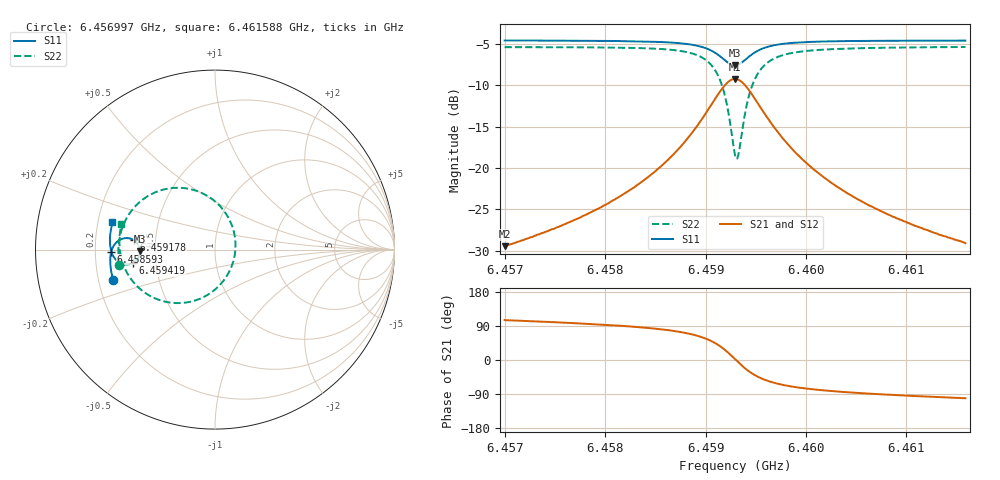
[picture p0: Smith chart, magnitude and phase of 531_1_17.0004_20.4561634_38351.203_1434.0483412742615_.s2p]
#  HZ  S  RI  R  50.00
! Rohde & Schwarz Vector Network Analyzer
! Rohde-Schwarz,ZNB20-2Port,1311601062101988,3.16
! Created: UTC 3/20/2024, 11:15:54 PM
! freq[Hz]  re:S11  im:S11  re:S21  im:S21  re:S12  im:S12  re:S22  im:S22
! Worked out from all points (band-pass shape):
!   401 points, 6.456997 GHz to 6.461588 GHz, reference 50 ohm
!   highest |S21| = -9.21 dB at 6.459293 GHz (marker M1); lowest = -29.5 dB at 6.456997 GHz (marker M2)
!   |S21| within 3 dB of the highest: 6.459063 GHz to 6.459523 GHz (459.2 kHz wide, 0.00711 % of centre)
!   lowest |S11| = -7.6 dB at 6.459293 GHz (marker M3), VSWR 2.44, Z = 20.5 - j0.463 ohm
!   |S11| at or under -10 dB: nowhere
!   |S22| runs from -18.9 to -5.3 dB; largest |S21 - S12| = 0.014
!   S11 on the Smith chart (normalised r, x): 6.456997 GHz: 0.26, -0.14; 6.458593 GHz: 0.27, -0.01; 6.459178 GHz: 0.37, +0.05; 6.459419 GHz: 0.37, -0.07; 6.461588 GHz: 0.26, +0.12
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6.4569972e9  -0.5671 -0.1706  -0.00897 0.0325  -0.00703 0.0326  -0.5331 -0.0831
6.4577662e9  -0.5809 -0.1034  -0.0055 0.0505  -0.00296 0.05  -0.5382 0.00696
6.4581794e9  -0.5837 -0.062  0.00025 0.0694  0.00359 0.068  -0.5301 0.0725
6.4585352e9  -0.5798 -0.0197  0.0147 0.099  0.0185 0.0961  -0.504 0.1524
6.4585925e9  -0.578 -0.0117  0.0188 0.1058  0.0229 0.1026  -0.4959 0.169
6.4587991e9  -0.565 0.0204  0.0466 0.1383  0.0506 0.1333  -0.444 0.2417
6.4589483e9  -0.5422 0.0466  0.0919 0.1687  0.0952 0.1619  -0.3599 0.306
6.4590861e9  -0.4983 0.0641  0.1792 0.1851  0.1802 0.1777  -0.2003 0.3444
6.4591779e9  -0.4538 0.0538  0.2694 0.1537  0.2695 0.1478  -0.0333 0.2935
6.4592467e9  -0.4247 0.0218  0.3297 0.0816  0.332 0.0763  0.082 0.1636
6.4592927e9  -0.4178 -0.0093  0.3461 0.0136  0.3498 0.00666  0.1143 0.0362
6.4593041e9  -0.4182 -0.0175  0.3458 -0.00417  0.3498 -0.0119  0.1138 0.00238
6.4593271e9  -0.4217 -0.0331  0.3403 -0.039  0.3441 -0.0481  0.1027 -0.0636
6.459373e9  -0.4373 -0.0591  0.3115 -0.099  0.3139 -0.1109  0.0446 -0.177
6.4594189e9  -0.4595 -0.0755  0.2693 -0.1401  0.2686 -0.1534  -0.041 -0.2521
6.4595107e9  -0.5027 -0.0823  0.1844 -0.1711  0.1782 -0.1828  -0.2105 -0.298
6.4596599e9  -0.5467 -0.0619  0.0963 -0.1571  0.0877 -0.1634  -0.3787 -0.2481
6.4598206e9  -0.5683 -0.0341  0.0513 -0.1292  0.0436 -0.132  -0.4593 -0.1755
6.4600616e9  -0.581 0.00147  0.0222 -0.0974  0.0162 -0.0982  -0.5073 -0.0927
6.4604404e9  -0.5856 0.0461  0.00525 -0.0688  0.0013 -0.0681  -0.5294 -0.00695
6.4608306e9  -0.5835 0.0852  -0.00149 -0.0519  -0.0044 -0.0512  -0.5326 0.0547
6.4615881e9  -0.5713 0.1523  -0.00664 -0.0345  -0.00832 -0.0337  -0.521 0.1446
